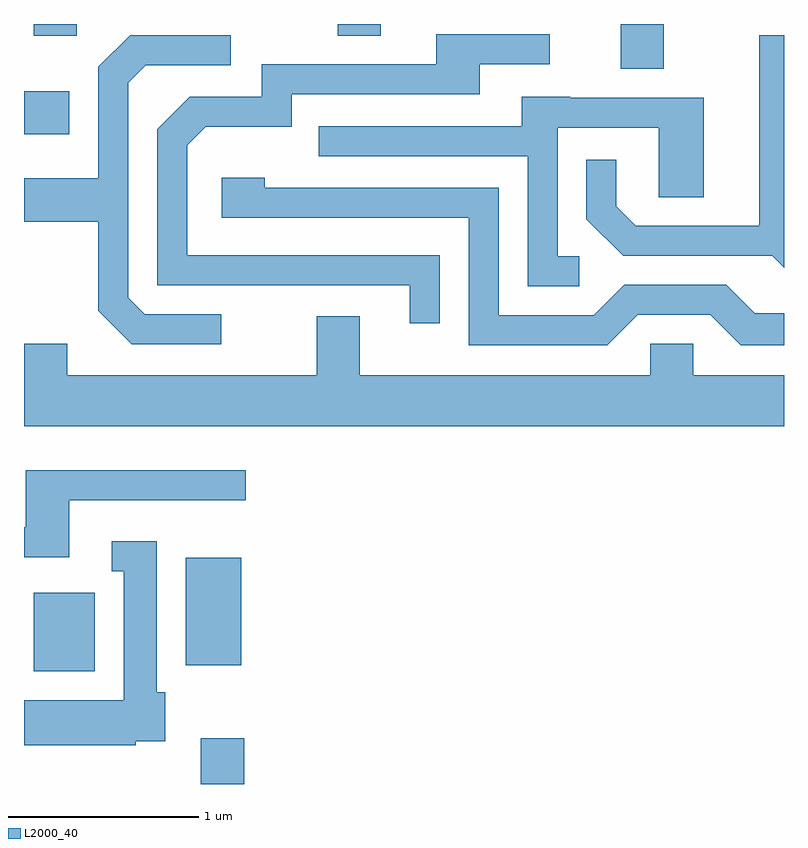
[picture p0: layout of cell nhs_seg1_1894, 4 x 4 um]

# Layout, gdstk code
import gdstk
lib = gdstk.Library(unit=1e-6, precision=1e-09)
def R(c, l, rs):  # rectangles x0, y0, x1, y1
    for r in rs: c.add(gdstk.rectangle(r[:2], r[2:], *l))
def P(c, l, *ps):  # polygons
    for p in ps: c.add(gdstk.Polygon(p, *l))
L2000_40 = (2000, 40)

nhs_seg1_1894 = lib.new_cell('nhs_seg1_1894')
R(nhs_seg1_1894, L2000_40, [(244.541,877.712,244.769,877.954), (243.661,878.306,243.984,878.719), (244.461,878.336,244.754,878.904), (243.611,881.131,243.849,881.359), (246.751,881.476,246.979,881.712), (243.661,881.651,243.889,881.712), (245.261,881.651,245.489,881.712)])
P(nhs_seg1_1894, L2000_40, [(245.799,880.494),(244.469,880.494),(244.469,881.074),(244.567,881.171),(245.019,881.171),(245.019,881.341),(246.009,881.341),(246.009,881.501),(246.378,881.501),(246.378,881.659),(245.781,881.659),(245.781,881.499),(244.861,881.499),(244.861,881.329),(244.484,881.329),(244.311,881.157),(244.311,880.336),(245.641,880.336),(245.641,880.138),(245.799,880.138)],
  [(244.648,880.184),(244.247,880.184),(244.159,880.272),(244.159,881.404),(244.252,881.496),(244.698,881.496),(244.698,881.654),(244.169,881.654),(244.001,881.487),(244.001,880.899),(243.611,880.899),(243.611,880.671),(244.001,880.671),(244.001,880.204),(244.179,880.026),(244.648,880.026)],
  [(247.611,881.654),(247.481,881.654),(247.481,880.649),(246.832,880.649),(246.729,880.752),(246.729,880.998),(246.571,880.998),(246.571,880.684),(246.764,880.491),(247.549,880.491),(247.611,880.429)],
  [(246.533,880.489),(246.419,880.489),(246.419,881.166),(246.951,881.166),(246.951,880.801),(247.189,880.801),(247.189,881.324),(246.485,881.324),(246.485,881.329),(246.231,881.329),(246.231,881.174),(245.163,881.174),(245.163,881.016),(246.261,881.016),(246.261,880.331),(246.533,880.331)],
  [(246.842,880.181),(247.224,880.181),(247.384,880.021),(247.611,880.021),(247.611,880.189),(247.457,880.189),(247.307,880.339),(246.769,880.339),(246.609,880.179),(246.109,880.179),(246.109,880.849),(244.879,880.849),(244.879,880.904),(244.651,880.904),(244.651,880.691),(245.951,880.691),(245.951,880.021),(246.682,880.021)],
  [(247.611,879.864),(247.134,879.864),(247.134,880.029),(246.906,880.029),(246.906,879.864),(245.379,879.864),(245.379,880.174),(245.151,880.174),(245.151,879.864),(243.839,879.864),(243.839,880.029),(243.611,880.029),(243.611,879.596),(247.611,879.596)],
  [(243.849,879.206),(244.778,879.206),(244.778,879.364),(243.621,879.364),(243.621,879.064),(243.611,879.064),(243.611,878.906),(243.849,878.906)],
  [(244.199,877.936),(244.354,877.936),(244.354,878.194),(244.309,878.194),(244.309,878.989),(244.073,878.989),(244.073,878.831),(244.136,878.831),(244.136,878.154),(243.611,878.154),(243.611,877.916),(244.199,877.916)])

lib.write_gds('nhs_seg1_1894.gds')
